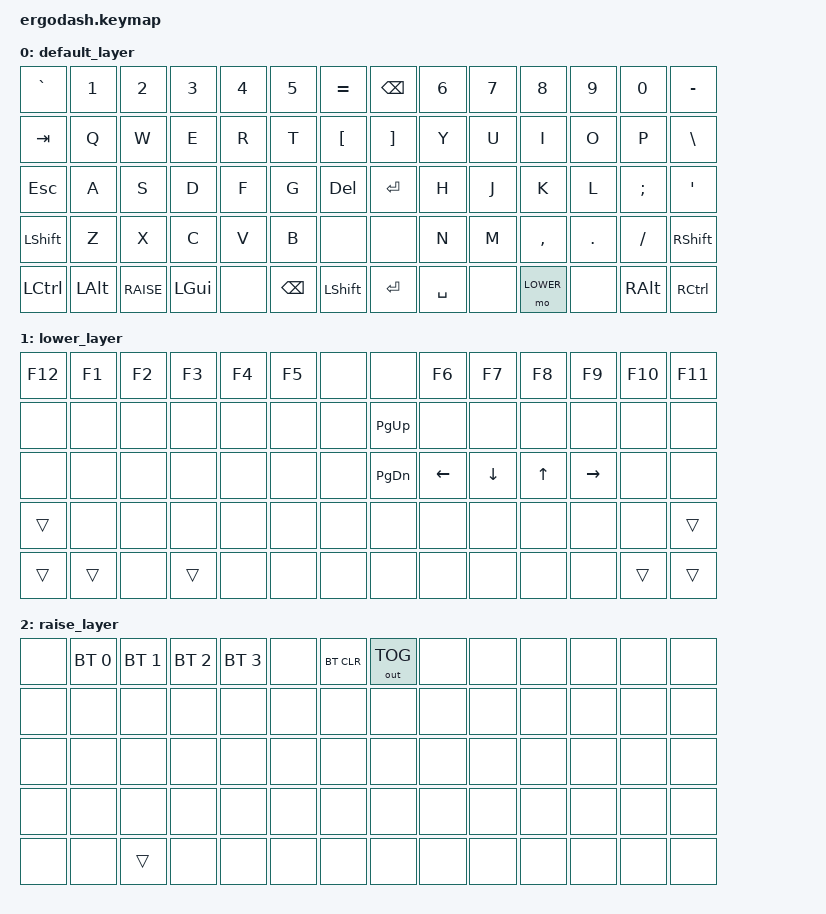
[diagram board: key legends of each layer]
/*
 * Copyright (c) 2020 The ZMK Contributors
 *
 * SPDX-License-Identifier: MIT
 */

#include <behaviors.dtsi>
#include <dt-bindings/zmk/keys.h>
#include <dt-bindings/zmk/bt.h>
#include <dt-bindings/zmk/outputs.h>

#define DEFAULT 0
#define LOWER   1
#define RAISE   2


/ {
        keymap {
                compatible = "zmk,keymap";

                default_layer {
/* QWERTY
 * .----------------------------------------------------------------------------------------------------------------------.
 * |  `   |   1  |   2  |   3  |   4  |   5  |  =   |                    | Bksp |   6  |   7  |   8  |   9  |   0  |  -   |
 * |------+------+------+------+------+------+------+--------------------+------+------+------+------+------+------+------|
 * | Tab  |   Q  |   W  |   E  |   R  |   T  |  [   |                    |  ]   |   Y  |   U  |   I  |   O  |   P  |  \   |
 * |------+------+------+------+------+------+------+--------------------+------+------+------+------+------+------+------|
 * | ESC  |   A  |   S  |   D  |   F  |   G  | Del  |                    | Enter|   H  |   J  |   K  |   L  |   ;  |  '   |
 * |------+------+------+------+------+------+---------------------------+------+------+------+------+------+------+------|
 * | Shift|   Z  |   X  |   C  |   V  |   B  |      |                    |      |   N  |   M  |   ,  |   .  |   /  | Shift|
 * |-------------+------+------+------+------+------+------+------+------+------+------+------+------+------+-------------|
 * | Ctrl | LAlt | Raise| LGUI ||||||||      | Bksp | Shift|||||||| Enter| Space|      |||||||| Lower|      | RAlt | RCtrl|
 * .----------------------------------------------------------------------------------------------------------------------.
 */
                        bindings = <
&kp  GRAVE    &kp  N1       &kp  N2       &kp  N3       &kp  N4       &kp  N5       &kp  EQUAL             &kp  BSPC     &kp  N6       &kp  N7       &kp  N8       &kp  N9       &kp  N0       &kp  MINUS
&kp  TAB      &kp  Q        &kp  W        &kp  E        &kp  R        &kp  T        &kp  LBKT              &kp  RBKT     &kp  Y        &kp  U        &kp  I        &kp  O        &kp  P        &kp  BSLH
&kp  ESC      &kp  A        &kp  S        &kp  D        &kp  F        &kp  G        &kp  DEL               &kp  RET      &kp  H        &kp  J        &kp  K        &kp  L        &kp  SEMI     &kp  SQT
&kp  LSHFT    &kp  Z        &kp  X        &kp  C        &kp  V        &kp  B        &none                  &none         &kp  N        &kp  M        &kp  COMMA    &kp  DOT      &kp  SLASH    &kp  RSHFT
&kp  LCTRL    &kp  LALT     &kp RAISE     &kp  LGUI     &none         &kp  BSPC     &kp  LSHFT             &kp  RET      &kp  SPACE    &none         &mo  LOWER    &none         &kp  RALT     &kp  RCTRL
                        >;
                };
                lower_layer {
/* .----------------------------------------------------------------------------------------------------------------------.
 * |  F12 |  F1  |  F2  |  F3  |  F4  |  F5  |      |                    |      |  F6  |  F7  |  F8  |  F9  |  F10 |  F11 |
 * |------+------+------+------+------+------+------+--------------------+------+------+------+------+------+------+------|
 * |      |      |      |      |      |      |      |                    | PGUP |      |      |      |      |      |      |
 * |------+------+------+------+------+------+------+--------------------+------+------+------+------+------+------+------|
 * |      |      |      |      |      |      |      |                    | PGDN | LEFT | DOWN | UP   | RIGHT|      |      |
 * |------+------+------+------+------+------+---------------------------+------+------+------+------+------+------+------|
 * | Shift|      |      |      |      |      |      |                    |      |      |      |      |      |      | Shift|
 * |-------------+------+------+------+------+------+------+------+------+------+------+------+------+------+-------------|
 * | Ctrl | LAlt |      | LGUI ||||||||      |      |      ||||||||      |      |      ||||||||      |      | RAlt | RCtrl|
 * .----------------------------------------------------------------------------------------------------------------------.
 */
                        bindings = <
&kp  F12      &kp  F1       &kp  F2       &kp  F3       &kp  F4       &kp  F5       &none                  &none         &kp  F6       &kp  F7       &kp  F8       &kp  F9       &kp  F10      &kp  F11
&none         &none         &none         &none         &none         &none         &none                  &kp    PG_UP  &none         &none         &none         &none         &none         &none
&none         &none         &none         &none         &none         &none         &none                  &kp    PG_DN  &kp  LEFT     &kp DOWN      &kp  UP       &kp  RIGHT    &none         &none
&trans        &none         &none         &none         &none         &none         &none                  &none         &none         &none         &none         &none         &none         &trans
&trans        &trans        &none         &trans        &none         &none         &none                  &none         &none         &none         &none         &none         &trans        &trans
                        >;
                };
                raise_layer {
/* .----------------------------------------------------------------------------------------------------------------------.
 * |      | BT 0 | BT 1 | BT 2 | BT 3 |      | BTCL |                    | OUT  |      |      |      |      |      |      |
 * |------+------+------+------+------+------+------+--------------------+------+------+------+------+------+------+------|
 * |      |      |      |      |      |      |      |                    |      |      |      |      |      |      |      |
 * |------+------+------+------+------+------+------+--------------------+------+------+------+------+------+------+------|
 * |      |      |      |      |      |      |      |                    |      |      |      |      |      |      |      |
 * |------+------+------+------+------+------+---------------------------+------+------+------+------+------+------+------|
 * |      |      |      |      |      |      |      |                    |      |      |      |      |      |      |      |
 * |-------------+------+------+------+------+------+------+------+------+------+------+------+------+------+-------------|
 * |      |      | Raise|      ||||||||      |      |      ||||||||      |      |      ||||||||      |      |      |      |
 * .----------------------------------------------------------------------------------------------------------------------.
 */
                        bindings = <
&none         &bt BT_SEL 0  &bt BT_SEL 1  &bt BT_SEL 2  &bt BT_SEL 3  &none         &bt BT_CLR             &out OUT_TOG  &none         &none         &none         &none         &none         &none
&none         &none         &none         &none         &none         &none         &none                  &none         &none         &none         &none         &none         &none         &none
&none         &none         &none         &none         &none         &none         &none                  &none         &none         &none         &none         &none         &none         &none
&none         &none         &none         &none         &none         &none         &none                  &none         &none         &none         &none         &none         &none         &none 
&none         &none         &trans        &none         &none         &none         &none                  &none         &none         &none         &none         &none         &none         &none 
                        >;
                };
        };
};

